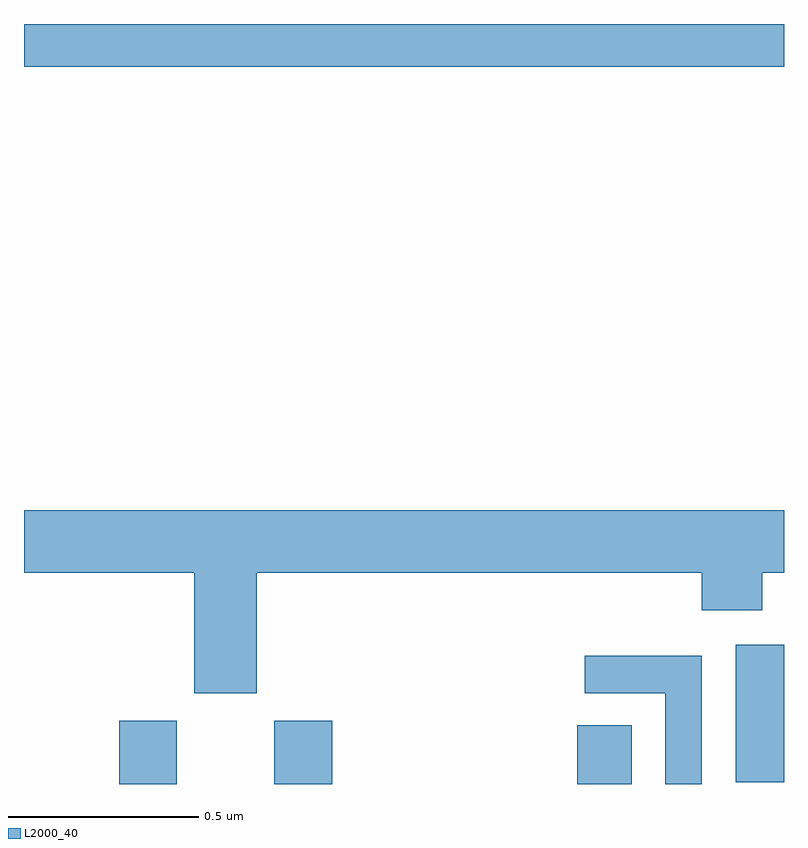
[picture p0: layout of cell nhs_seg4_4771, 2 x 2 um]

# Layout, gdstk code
import gdstk
lib = gdstk.Library(unit=1e-6, precision=1e-09)
def R(c, l, rs):  # rectangles x0, y0, x1, y1
    for r in rs: c.add(gdstk.rectangle(r[:2], r[2:], *l))
def P(c, l, *ps):  # polygons
    for p in ps: c.add(gdstk.Polygon(p, *l))
L2000_40 = (2000, 40)

nhs_seg4_4771 = lib.new_cell('nhs_seg4_4771')
R(nhs_seg4_4771, L2000_40, [(169.25,826.9,169.402,827.067), (169.658,826.9,169.811,827.067), (170.456,826.9,170.599,827.054), (170.873,826.905,171,827.266), (169,828.788,171,828.9)])
P(nhs_seg4_4771, L2000_40, [(169.612,827.456),(170.783,827.456),(170.783,827.357),(170.943,827.357),(170.943,827.456),(171,827.456),(171,827.62),(169,827.62),(169,827.456),(169.448,827.456),(169.448,827.139),(169.612,827.139)],
  [(170.784,827.238),(170.475,827.238),(170.475,827.139),(170.688,827.139),(170.688,826.9),(170.784,826.9)])

lib.write_gds('nhs_seg4_4771.gds')
